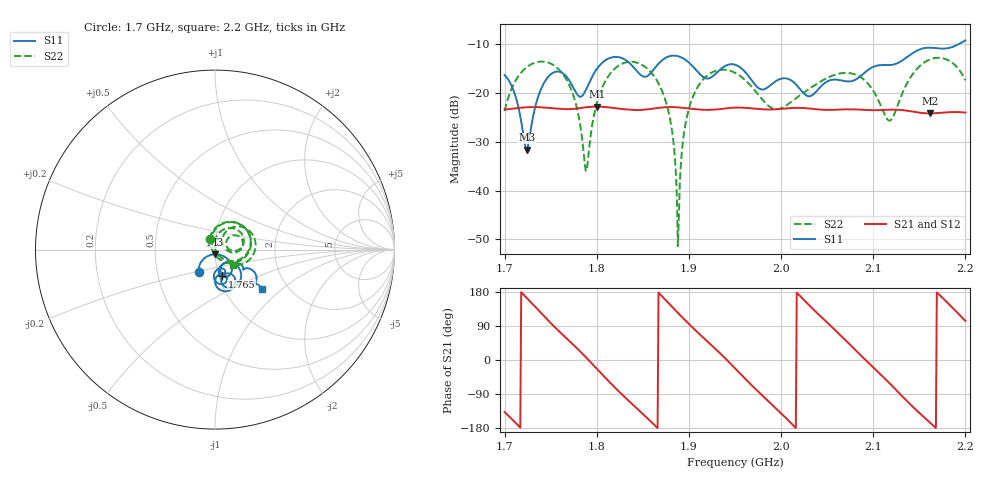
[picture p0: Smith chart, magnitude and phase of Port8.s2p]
# Hz S RI R 50
! CMT, CMT808U, 21440046, 21.4.3/4
! Date: 12/13/2025 10:50:21 PM
! Data: Format (Calibration Info)
! Freq	S11:Re/Im(F2)	S41:Re/Im(F2)	S14:Re/Im(F2)	S44:Re/Im(F2)
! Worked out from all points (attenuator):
!   501 points, 1.7 GHz to 2.2 GHz, reference 50 ohm
!   highest |S21| = -22.80 dB at 1.8 GHz (marker M1); lowest = -24.2 dB at 2.162 GHz (marker M2)
!   lowest |S11| = -31.6 dB at 1.724 GHz (marker M3), VSWR 1.05, Z = 50.1 - j2.63 ohm
!   |S11| at or under -10 dB: start of sweep to 2.193 GHz
!   |S22| runs from -51.4 to -12.8 dB; largest |S21 - S12| = 0.00038
!   S11 on the Smith chart (normalised r, x): 1.7 GHz: 0.82, -0.21; 1.765 GHz: 1.03, -0.32; 2.2 GHz: 1.49, -0.75
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1.7e9  -0.0864 -0.1254  -0.0498 -0.046  -0.0496 -0.0459  -0.0292 0.0586
1.712e9  -0.07 -0.0584  -0.0675 -0.0167  -0.0674 -0.0169  0.0163 0.1332
1.724e9  0.00148 -0.0262  -0.0684 0.0201  -0.0683 0.0199  0.1001 0.154
1.742e9  0.0907 -0.0827  -0.0328 0.0631  -0.0328 0.0629  0.1955 0.0745
1.765e9  0.0381 -0.1493  0.0321 0.0603  0.0318 0.0602  0.1323 -0.0653
1.784e9  0.0557 -0.0745  0.067 0.0214  0.0669 0.0215  0.00357 -0.0346
1.789e9  0.0852 -0.0717  0.0711 0.00657  0.0709 0.00672  -0.0156 -0.00305
1.8e9  0.1374 -0.1096  0.0667 -0.0283  0.0666 -0.0281  -0.0183 0.0759
1.83e9  0.0656 -0.2111  -0.00857 -0.0675  -0.00833 -0.0673  0.1581 0.1284
1.852e9  0.0565 -0.135  -0.0564 -0.0369  -0.0561 -0.037  0.1858 -0.00853
1.867e9  0.1126 -0.1641  -0.0703 0.00277  -0.0702 0.00258  0.1082 -0.0631
1.881e9  0.0868 -0.224  -0.0566 0.044  -0.0566 0.0438  0.026 -0.037
1.888e9  0.054 -0.2319  -0.0403 0.0586  -0.0403 0.0585  0.00257 -0.00081
1.895e9  0.0232 -0.2212  -0.0207 0.067  -0.0207 0.0668  -0.00221 0.0409
1.905e9  0.000531 -0.1837  0.00811 0.068  0.00802 0.0679  0.0213 0.0923
1.95e9  0.0284 -0.1925  0.0657 -0.0264  0.0656 -0.0261  0.158 0.0303
1.993e9  0.0562 -0.1167  -0.0383 -0.056  -0.038 -0.056  0.0659 0.0183
2.034e9  0.059 -0.0746  -0.0494 0.0477  -0.0495 0.0476  0.0881 0.0752
2.082e9  0.1153 -0.0774  0.0624 0.0265  0.0623 0.0266  0.1517 0.0141
2.117e9  0.1582 -0.1106  0.034 -0.058  0.0341 -0.0579  0.0486 0.0186
2.162e9  0.2212 -0.1885  -0.0599 -0.0148  -0.0598 -0.0152  0.199 0.0969
2.2e9  0.2636 -0.2221  -0.0143 0.0612  -0.0145 0.0612  0.1019 -0.0885
